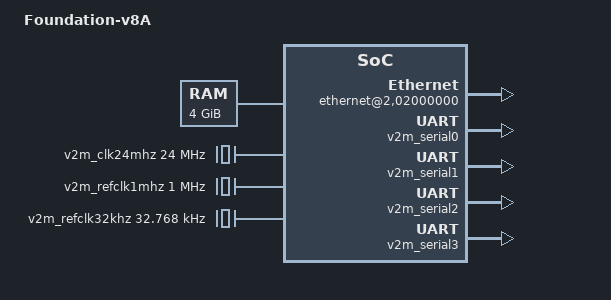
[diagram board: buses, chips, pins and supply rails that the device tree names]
// SPDX-License-Identifier: GPL-2.0
/*
 * ARM Ltd.
 *
 * ARMv8 Foundation model DTS
 */

/dts-v1/;

#include <dt-bindings/interrupt-controller/arm-gic.h>

/memreserve/ 0x80000000 0x00010000;

/ {
	model = "Foundation-v8A";
	compatible = "arm,foundation-aarch64", "arm,vexpress";
	interrupt-parent = <&gic>;
	#address-cells = <2>;
	#size-cells = <2>;

	chosen { };

	aliases {
		serial0 = &v2m_serial0;
		serial1 = &v2m_serial1;
		serial2 = &v2m_serial2;
		serial3 = &v2m_serial3;
	};

	cpus {
		#address-cells = <2>;
		#size-cells = <0>;

		cpu0: cpu@0 {
			device_type = "cpu";
			compatible = "arm,armv8";
			reg = <0x0 0x0>;
			next-level-cache = <&L2_0>;
		};
		cpu1: cpu@1 {
			device_type = "cpu";
			compatible = "arm,armv8";
			reg = <0x0 0x1>;
			next-level-cache = <&L2_0>;
		};
		cpu2: cpu@2 {
			device_type = "cpu";
			compatible = "arm,armv8";
			reg = <0x0 0x2>;
			next-level-cache = <&L2_0>;
		};
		cpu3: cpu@3 {
			device_type = "cpu";
			compatible = "arm,armv8";
			reg = <0x0 0x3>;
			next-level-cache = <&L2_0>;
		};

		L2_0: l2-cache0 {
			compatible = "cache";
		};
	};

	memory@80000000 {
		device_type = "memory";
		reg = <0x00000000 0x80000000 0 0x80000000>,
		      <0x00000008 0x80000000 0 0x80000000>;
	};

	timer {
		compatible = "arm,armv8-timer";
		interrupts = <GIC_PPI 13 (GIC_CPU_MASK_SIMPLE(4) | IRQ_TYPE_LEVEL_LOW)>,
			     <GIC_PPI 14 (GIC_CPU_MASK_SIMPLE(4) | IRQ_TYPE_LEVEL_LOW)>,
			     <GIC_PPI 11 (GIC_CPU_MASK_SIMPLE(4) | IRQ_TYPE_LEVEL_LOW)>,
			     <GIC_PPI 10 (GIC_CPU_MASK_SIMPLE(4) | IRQ_TYPE_LEVEL_LOW)>;
		clock-frequency = <100000000>;
	};

	pmu {
		compatible = "arm,armv8-pmuv3";
		interrupts = <GIC_SPI 60 IRQ_TYPE_LEVEL_HIGH>,
			     <GIC_SPI 61 IRQ_TYPE_LEVEL_HIGH>,
			     <GIC_SPI 62 IRQ_TYPE_LEVEL_HIGH>,
			     <GIC_SPI 63 IRQ_TYPE_LEVEL_HIGH>;
	};

	watchdog@2a440000 {
		compatible = "arm,sbsa-gwdt";
		reg = <0x0 0x2a440000 0 0x1000>,
			<0x0 0x2a450000 0 0x1000>;
		interrupts = <GIC_SPI 27 IRQ_TYPE_LEVEL_HIGH>;
		timeout-sec = <30>;
	};

	bus@8000000 {
		compatible = "arm,vexpress,v2m-p1", "simple-bus";
		arm,v2m-memory-map = "rs1";
		#address-cells = <2>; /* SMB chipselect number and offset */
		#size-cells = <1>;

		ranges = <0 0 0 0x08000000 0x04000000>,
			 <1 0 0 0x14000000 0x04000000>,
			 <2 0 0 0x18000000 0x04000000>,
			 <3 0 0 0x1c000000 0x04000000>,
			 <4 0 0 0x0c000000 0x04000000>,
			 <5 0 0 0x10000000 0x04000000>;

		#interrupt-cells = <1>;
		interrupt-map-mask = <0 0 63>;
		interrupt-map = <0 0  0 &gic 0 0 GIC_SPI  0 IRQ_TYPE_LEVEL_HIGH>,
				<0 0  1 &gic 0 0 GIC_SPI  1 IRQ_TYPE_LEVEL_HIGH>,
				<0 0  2 &gic 0 0 GIC_SPI  2 IRQ_TYPE_LEVEL_HIGH>,
				<0 0  3 &gic 0 0 GIC_SPI  3 IRQ_TYPE_LEVEL_HIGH>,
				<0 0  4 &gic 0 0 GIC_SPI  4 IRQ_TYPE_LEVEL_HIGH>,
				<0 0  5 &gic 0 0 GIC_SPI  5 IRQ_TYPE_LEVEL_HIGH>,
				<0 0  6 &gic 0 0 GIC_SPI  6 IRQ_TYPE_LEVEL_HIGH>,
				<0 0  7 &gic 0 0 GIC_SPI  7 IRQ_TYPE_LEVEL_HIGH>,
				<0 0  8 &gic 0 0 GIC_SPI  8 IRQ_TYPE_LEVEL_HIGH>,
				<0 0  9 &gic 0 0 GIC_SPI  9 IRQ_TYPE_LEVEL_HIGH>,
				<0 0 10 &gic 0 0 GIC_SPI 10 IRQ_TYPE_LEVEL_HIGH>,
				<0 0 11 &gic 0 0 GIC_SPI 11 IRQ_TYPE_LEVEL_HIGH>,
				<0 0 12 &gic 0 0 GIC_SPI 12 IRQ_TYPE_LEVEL_HIGH>,
				<0 0 13 &gic 0 0 GIC_SPI 13 IRQ_TYPE_LEVEL_HIGH>,
				<0 0 14 &gic 0 0 GIC_SPI 14 IRQ_TYPE_LEVEL_HIGH>,
				<0 0 15 &gic 0 0 GIC_SPI 15 IRQ_TYPE_LEVEL_HIGH>,
				<0 0 16 &gic 0 0 GIC_SPI 16 IRQ_TYPE_LEVEL_HIGH>,
				<0 0 17 &gic 0 0 GIC_SPI 17 IRQ_TYPE_LEVEL_HIGH>,
				<0 0 18 &gic 0 0 GIC_SPI 18 IRQ_TYPE_LEVEL_HIGH>,
				<0 0 19 &gic 0 0 GIC_SPI 19 IRQ_TYPE_LEVEL_HIGH>,
				<0 0 20 &gic 0 0 GIC_SPI 20 IRQ_TYPE_LEVEL_HIGH>,
				<0 0 21 &gic 0 0 GIC_SPI 21 IRQ_TYPE_LEVEL_HIGH>,
				<0 0 22 &gic 0 0 GIC_SPI 22 IRQ_TYPE_LEVEL_HIGH>,
				<0 0 23 &gic 0 0 GIC_SPI 23 IRQ_TYPE_LEVEL_HIGH>,
				<0 0 24 &gic 0 0 GIC_SPI 24 IRQ_TYPE_LEVEL_HIGH>,
				<0 0 25 &gic 0 0 GIC_SPI 25 IRQ_TYPE_LEVEL_HIGH>,
				<0 0 26 &gic 0 0 GIC_SPI 26 IRQ_TYPE_LEVEL_HIGH>,
				<0 0 27 &gic 0 0 GIC_SPI 27 IRQ_TYPE_LEVEL_HIGH>,
				<0 0 28 &gic 0 0 GIC_SPI 28 IRQ_TYPE_LEVEL_HIGH>,
				<0 0 29 &gic 0 0 GIC_SPI 29 IRQ_TYPE_LEVEL_HIGH>,
				<0 0 30 &gic 0 0 GIC_SPI 30 IRQ_TYPE_LEVEL_HIGH>,
				<0 0 31 &gic 0 0 GIC_SPI 31 IRQ_TYPE_LEVEL_HIGH>,
				<0 0 32 &gic 0 0 GIC_SPI 32 IRQ_TYPE_LEVEL_HIGH>,
				<0 0 33 &gic 0 0 GIC_SPI 33 IRQ_TYPE_LEVEL_HIGH>,
				<0 0 34 &gic 0 0 GIC_SPI 34 IRQ_TYPE_LEVEL_HIGH>,
				<0 0 35 &gic 0 0 GIC_SPI 35 IRQ_TYPE_LEVEL_HIGH>,
				<0 0 36 &gic 0 0 GIC_SPI 36 IRQ_TYPE_LEVEL_HIGH>,
				<0 0 37 &gic 0 0 GIC_SPI 37 IRQ_TYPE_LEVEL_HIGH>,
				<0 0 38 &gic 0 0 GIC_SPI 38 IRQ_TYPE_LEVEL_HIGH>,
				<0 0 39 &gic 0 0 GIC_SPI 39 IRQ_TYPE_LEVEL_HIGH>,
				<0 0 40 &gic 0 0 GIC_SPI 40 IRQ_TYPE_LEVEL_HIGH>,
				<0 0 41 &gic 0 0 GIC_SPI 41 IRQ_TYPE_LEVEL_HIGH>,
				<0 0 42 &gic 0 0 GIC_SPI 42 IRQ_TYPE_LEVEL_HIGH>;

		ethernet@2,02000000 {
			compatible = "smsc,lan91c111";
			reg = <2 0x02000000 0x10000>;
			interrupts = <15>;
		};

		v2m_clk24mhz: clk24mhz {
			compatible = "fixed-clock";
			#clock-cells = <0>;
			clock-frequency = <24000000>;
			clock-output-names = "v2m:clk24mhz";
		};

		v2m_refclk1mhz: refclk1mhz {
			compatible = "fixed-clock";
			#clock-cells = <0>;
			clock-frequency = <1000000>;
			clock-output-names = "v2m:refclk1mhz";
		};

		v2m_refclk32khz: refclk32khz {
			compatible = "fixed-clock";
			#clock-cells = <0>;
			clock-frequency = <32768>;
			clock-output-names = "v2m:refclk32khz";
		};

		iofpga@3,00000000 {
			compatible = "simple-bus";
			#address-cells = <1>;
			#size-cells = <1>;
			ranges = <0 3 0 0x200000>;

			v2m_sysreg: sysreg@10000 {
				compatible = "arm,vexpress-sysreg";
				reg = <0x010000 0x1000>;
			};

			v2m_serial0: uart@90000 {
				compatible = "arm,pl011", "arm,primecell";
				reg = <0x090000 0x1000>;
				interrupts = <5>;
				clocks = <&v2m_clk24mhz>, <&v2m_clk24mhz>;
				clock-names = "uartclk", "apb_pclk";
			};

			v2m_serial1: uart@a0000 {
				compatible = "arm,pl011", "arm,primecell";
				reg = <0x0a0000 0x1000>;
				interrupts = <6>;
				clocks = <&v2m_clk24mhz>, <&v2m_clk24mhz>;
				clock-names = "uartclk", "apb_pclk";
			};

			v2m_serial2: uart@b0000 {
				compatible = "arm,pl011", "arm,primecell";
				reg = <0x0b0000 0x1000>;
				interrupts = <7>;
				clocks = <&v2m_clk24mhz>, <&v2m_clk24mhz>;
				clock-names = "uartclk", "apb_pclk";
			};

			v2m_serial3: uart@c0000 {
				compatible = "arm,pl011", "arm,primecell";
				reg = <0x0c0000 0x1000>;
				interrupts = <8>;
				clocks = <&v2m_clk24mhz>, <&v2m_clk24mhz>;
				clock-names = "uartclk", "apb_pclk";
			};

			virtio-block@130000 {
				compatible = "virtio,mmio";
				reg = <0x130000 0x200>;
				interrupts = <42>;
			};
		};
	};
};
